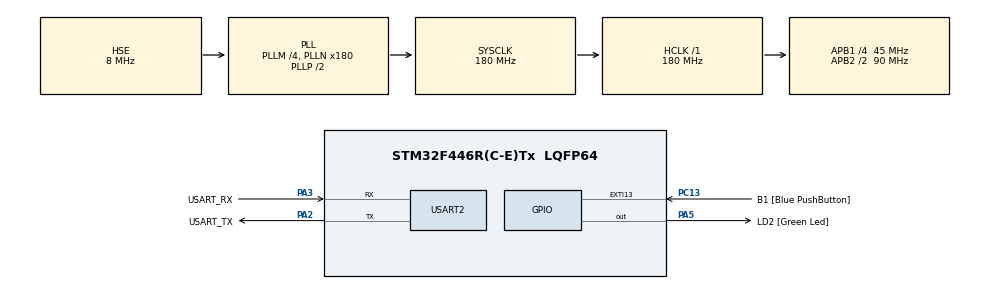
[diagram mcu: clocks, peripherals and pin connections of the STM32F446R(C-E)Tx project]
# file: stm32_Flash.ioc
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Mcu.Family=STM32F4
Mcu.Name=STM32F446R(C-E)Tx
Mcu.Package=LQFP64
NVIC.PriorityGroup=NVIC_PRIORITYGROUP_0
PA13.GPIO_Label=TMS
PA13.Mode=Serial_Wire
PA13.Signal=SYS_JTMS-SWDIO
PA14.GPIO_Label=TCK
PA14.Mode=Serial_Wire
PA14.Signal=SYS_JTCK-SWCLK
PA2.GPIO_Label=USART_TX
PA2.Mode=Asynchronous
PA2.Signal=USART2_TX
PA3.GPIO_Label=USART_RX
PA3.Mode=Asynchronous
PA3.Signal=USART2_RX
PA5.GPIO_Label=LD2 [Green Led]
PA5.Signal=GPIO_Output
PB3.GPIO_Label=SWO
PB3.Signal=SYS_JTDO-SWO
PC13.GPIO_Label=B1 [Blue PushButton]
PC13.GPIO_ModeDefaultEXTI=GPIO_MODE_IT_FALLING
PC13.Signal=GPXTI13
PC14-OSC32_IN.Mode=LSE-External-Oscillator
PC14-OSC32_IN.Signal=RCC_OSC32_IN
PC15-OSC32_OUT.Mode=LSE-External-Oscillator
PC15-OSC32_OUT.Signal=RCC_OSC32_OUT
PH0-OSC_IN.Mode=HSE-External-Oscillator
PH0-OSC_IN.Signal=RCC_OSC_IN
PH1-OSC_OUT.Mode=HSE-External-Oscillator
PH1-OSC_OUT.Signal=RCC_OSC_OUT
ProjectManager.HeapSize=0x200
ProjectManager.StackSize=0x400
ProjectManager.TargetToolchain=STM32CubeIDE
RCC.48MHZClocksFreq_Value=84000000
RCC.AHBFreq_Value=180000000
RCC.APB1CLKDivider=RCC_HCLK_DIV4
RCC.APB1Freq_Value=45000000
RCC.APB1TimFreq_Value=90000000
RCC.APB2CLKDivider=RCC_HCLK_DIV2
RCC.APB2Freq_Value=90000000
RCC.APB2TimFreq_Value=180000000
RCC.CortexFreq_Value=180000000
RCC.FLatency-AdvancedSettings=FLASH_LATENCY_5
RCC.HCLKFreq_Value=180000000
RCC.HSE_VALUE=8000000
RCC.HSI_VALUE=16000000
RCC.PLLM=4
RCC.PLLN=180
RCC.PLLSourceVirtual=RCC_PLLSOURCE_HSE
RCC.SYSCLKFreq_VALUE=180000000
RCC.SYSCLKSource=RCC_SYSCLKSOURCE_PLLCLK
RCC.USBFreq_Value=180000000
RCC.VCOOutputFreq_Value=360000000
USART2.VirtualMode=VM_ASYNC
board=NUCLEO-F446RE

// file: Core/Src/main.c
/* USER CODE BEGIN Header */
/**
  ******************************************************************************
  * @file           : main.c
  * @brief          : Main program body
  ******************************************************************************
  * @attention
  *
  * Copyright (c) 2026 STMicroelectronics.
  * All rights reserved.
  *
  * This software is licensed under terms that can be found in the LICENSE file
  * in the root directory of this software component.
  * If no LICENSE file comes with this software, it is provided AS-IS.
  *
  ******************************************************************************
  */
/* USER CODE END Header */
#include "main.h"

/* USER CODE BEGIN Includes */
#include <stdio.h>
/* USER CODE END Includes */

UART_HandleTypeDef huart2;

/* USER CODE BEGIN PV */
#define FLASH_USER_START_ADDR  ((uint32_t)0x08060000)  // Sector 7
#define FLASH_SECTOR_USER     FLASH_SECTOR_7

/* USER CODE END PV */

void SystemClock_Config(void);
static void MX_GPIO_Init(void);
static void MX_USART2_UART_Init(void);

/* USER CODE BEGIN 0 */
// Send printf to uart2
int _write(int file, char *ptr, int len)
{
    HAL_UART_Transmit(&huart2, (uint8_t *)ptr, len, HAL_MAX_DELAY);
    return len;
}

uint32_t Flash_Write(uint32_t address, uint32_t *data, uint32_t length)
{
    FLASH_EraseInitTypeDef eraseInit;
    uint32_t sectorError;

    HAL_FLASH_Unlock();

    eraseInit.TypeErase    = FLASH_TYPEERASE_SECTORS;
    eraseInit.VoltageRange = FLASH_VOLTAGE_RANGE_3;
    eraseInit.Sector       = FLASH_SECTOR_USER;
    eraseInit.NbSectors    = 1;

    if (HAL_FLASHEx_Erase(&eraseInit, &sectorError) != HAL_OK)
    {
        printf("Flash erase error: %lu\r\n", HAL_FLASH_GetError());
        HAL_FLASH_Lock();
        return 1;
    }

    for (uint32_t i = 0; i < length; i++)
    {
        if (HAL_FLASH_Program(FLASH_TYPEPROGRAM_WORD,
                              address + (i * 4),
                              data[i]) != HAL_OK)
        {
            printf("Flash write error at word %lu\r\n", i);
            HAL_FLASH_Lock();
            return 2;
        }
    }

    HAL_FLASH_Lock();
    return 0;
}

void Flash_Read(uint32_t address, uint32_t *buffer, uint32_t length)
{
    for (uint32_t i = 0; i < length; i++)
    {
        buffer[i] = *(__IO uint32_t *)(address + (i * 4));
    }
}

/* USER CODE END 0 */

int main(void)
{

  /* MCU Configuration--------------------------------------------------------*/

  /* Reset of all peripherals, Initializes the Flash interface and the Systick. */
  HAL_Init();

  /* Configure the system clock */
  SystemClock_Config();

  /* Initialize all configured peripherals */
  MX_GPIO_Init();
  MX_USART2_UART_Init();
  /* USER CODE BEGIN 2 */
  printf("\r\n--- STM32F446RE Flash Test ---\r\n");

  uint32_t txData[4] = {
      0xDEADBEEF,
      0x12345678,
      0xA5A5A5A5,
      0xCAFEBABE
  };

  uint32_t rxData[4];

  printf("Writing Flash...\r\n");
  if (Flash_Write(FLASH_USER_START_ADDR, txData, 4) == 0)
  {
      printf("Flash write OK\r\n");
  }

  printf("Reading Flash...\r\n");
  Flash_Read(FLASH_USER_START_ADDR, rxData, 4);

  for (int i = 0; i < 4; i++)
  {
      printf("Word %d: 0x%08lX\r\n", i, rxData[i]);
  }
  /* USER CODE END 2 */

  /* Infinite loop */
  while (1)
  {

  }
}

void SystemClock_Config(void)
{
  RCC_OscInitTypeDef RCC_OscInitStruct = {0};
  RCC_ClkInitTypeDef RCC_ClkInitStruct = {0};

  /** Configure the main internal regulator output voltage
  */
  __HAL_RCC_PWR_CLK_ENABLE();
  __HAL_PWR_VOLTAGESCALING_CONFIG(PWR_REGULATOR_VOLTAGE_SCALE1);

  /** Initializes the RCC Oscillators according to the specified parameters
  * in the RCC_OscInitTypeDef structure.
  */
  RCC_OscInitStruct.OscillatorType = RCC_OSCILLATORTYPE_HSE;
  RCC_OscInitStruct.HSEState = RCC_HSE_ON;
  RCC_OscInitStruct.PLL.PLLState = RCC_PLL_ON;
  RCC_OscInitStruct.PLL.PLLSource = RCC_PLLSOURCE_HSE;
  RCC_OscInitStruct.PLL.PLLM = 4;
  RCC_OscInitStruct.PLL.PLLN = 180;
  RCC_OscInitStruct.PLL.PLLP = RCC_PLLP_DIV2;
  RCC_OscInitStruct.PLL.PLLQ = 2;
  RCC_OscInitStruct.PLL.PLLR = 2;
  if (HAL_RCC_OscConfig(&RCC_OscInitStruct) != HAL_OK)
  {
    Error_Handler();
  }

  /** Activate the Over-Drive mode
  */
  if (HAL_PWREx_EnableOverDrive() != HAL_OK)
  {
    Error_Handler();
  }

  /** Initializes the CPU, AHB and APB buses clocks
  */
  RCC_ClkInitStruct.ClockType = RCC_CLOCKTYPE_HCLK|RCC_CLOCKTYPE_SYSCLK
                              |RCC_CLOCKTYPE_PCLK1|RCC_CLOCKTYPE_PCLK2;
  RCC_ClkInitStruct.SYSCLKSource = RCC_SYSCLKSOURCE_PLLCLK;
  RCC_ClkInitStruct.AHBCLKDivider = RCC_SYSCLK_DIV1;
  RCC_ClkInitStruct.APB1CLKDivider = RCC_HCLK_DIV4;
  RCC_ClkInitStruct.APB2CLKDivider = RCC_HCLK_DIV2;

  if (HAL_RCC_ClockConfig(&RCC_ClkInitStruct, FLASH_LATENCY_5) != HAL_OK)
  {
    Error_Handler();
  }
}

static void MX_USART2_UART_Init(void)
{

  huart2.Instance = USART2;
  huart2.Init.BaudRate = 115200;
  huart2.Init.WordLength = UART_WORDLENGTH_8B;
  huart2.Init.StopBits = UART_STOPBITS_1;
  huart2.Init.Parity = UART_PARITY_NONE;
  huart2.Init.Mode = UART_MODE_TX_RX;
  huart2.Init.HwFlowCtl = UART_HWCONTROL_NONE;
  huart2.Init.OverSampling = UART_OVERSAMPLING_16;
  if (HAL_UART_Init(&huart2) != HAL_OK)
  {
    Error_Handler();
  }

}

static void MX_GPIO_Init(void)
{
  GPIO_InitTypeDef GPIO_InitStruct = {0};

  /* GPIO Ports Clock Enable */
  __HAL_RCC_GPIOC_CLK_ENABLE();
  __HAL_RCC_GPIOH_CLK_ENABLE();
  __HAL_RCC_GPIOA_CLK_ENABLE();
  __HAL_RCC_GPIOB_CLK_ENABLE();

  /*Configure GPIO pin Output Level */
  HAL_GPIO_WritePin(LD2_GPIO_Port, LD2_Pin, GPIO_PIN_RESET);

  /*Configure GPIO pin : B1_Pin */
  GPIO_InitStruct.Pin = B1_Pin;
  GPIO_InitStruct.Mode = GPIO_MODE_IT_FALLING;
  GPIO_InitStruct.Pull = GPIO_NOPULL;
  HAL_GPIO_Init(B1_GPIO_Port, &GPIO_InitStruct);

  /*Configure GPIO pin : LD2_Pin */
  GPIO_InitStruct.Pin = LD2_Pin;
  GPIO_InitStruct.Mode = GPIO_MODE_OUTPUT_PP;
  GPIO_InitStruct.Pull = GPIO_NOPULL;
  GPIO_InitStruct.Speed = GPIO_SPEED_FREQ_LOW;
  HAL_GPIO_Init(LD2_GPIO_Port, &GPIO_InitStruct);

}

void Error_Handler(void)
{
  __disable_irq();
  while (1)
  {
  }
}
